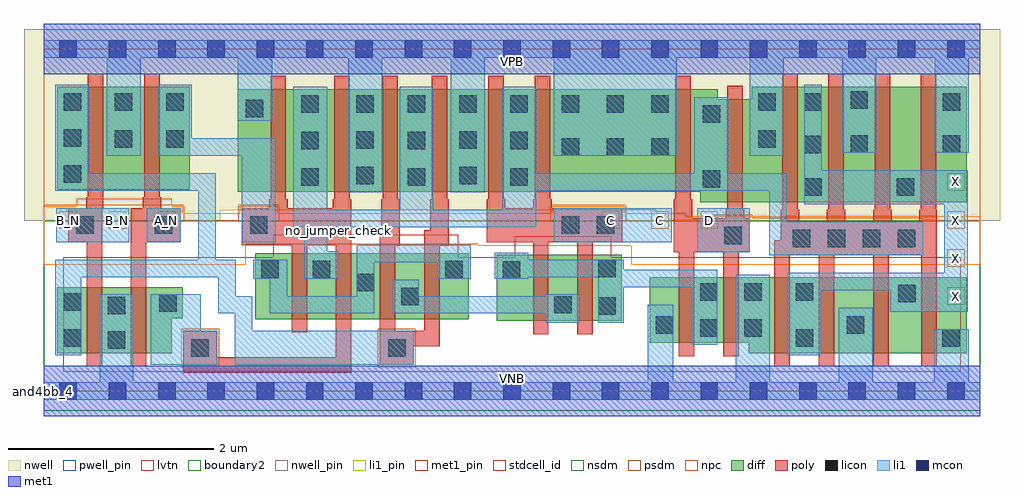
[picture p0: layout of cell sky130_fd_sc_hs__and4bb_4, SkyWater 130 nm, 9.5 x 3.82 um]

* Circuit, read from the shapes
.subckt sky130_fd_sc_hs__and4bb_4 A_N B_N C D VGND VNB VPB VPWR X
XM1 VGND B_N n1 VNB sky130_fd_pr__nfet_01v8_lvt w=0.64 l=0.15
XM2 n2 A_N VGND VNB sky130_fd_pr__nfet_01v8_lvt w=0.64 l=0.15
XM3 n3 n2 n4 VNB sky130_fd_pr__nfet_01v8_lvt w=0.64 l=0.15 m=2
XM4 n5 n1 n4 VNB sky130_fd_pr__nfet_01v8_lvt w=0.64 l=0.15 m=2
XM5 n5 C n6 VNB sky130_fd_pr__nfet_01v8_lvt w=0.64 l=0.15 m=2
XM6 n6 D VGND VNB sky130_fd_pr__nfet_01v8_lvt w=0.64 l=0.15 m=2
XM7 X n3 VGND VNB sky130_fd_pr__nfet_01v8_lvt w=0.74 l=0.15 m=4
XM8 VPWR B_N n1 VPB sky130_fd_pr__pfet_01v8 w=1 l=0.15
XM9 n2 A_N VPWR VPB sky130_fd_pr__pfet_01v8 w=1 l=0.15
XM10 n3 n2 VPWR VPB sky130_fd_pr__pfet_01v8 w=1 l=0.15 m=2
XM11 n3 n1 VPWR VPB sky130_fd_pr__pfet_01v8 w=1 l=0.15 m=2
XM12 n3 C VPWR VPB sky130_fd_pr__pfet_01v8 w=1 l=0.15 m=2
XM13 n3 D VPWR VPB sky130_fd_pr__pfet_01v8 w=1 l=0.15 m=2
XM14 X n3 VPWR VPB sky130_fd_pr__pfet_01v8 w=1.12 l=0.15 m=4
.ends

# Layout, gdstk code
import gdstk
lib = gdstk.Library(unit=1e-6, precision=1e-09)
def R(c, l, rs):  # rectangles x0, y0, x1, y1
    for r in rs: c.add(gdstk.rectangle(r[:2], r[2:], *l))
def A(c, l, x, y, w, h, nx, ny, dx, dy):  # array of equal rectangles
    R(c, l, [(x+i*dx, y+j*dy, x+i*dx+w, y+j*dy+h) for i in range(nx) for j in range(ny)])
def P(c, l, *ps):  # polygons
    for p in ps: c.add(gdstk.Polygon(p, *l))
nwell_pin = (64, 16)
nwell = (64, 20)
diff = (65, 20)
poly = (66, 20)
licon = (66, 44)
li1_pin = (67, 16)
li1 = (67, 20)
mcon = (67, 44)
met1_pin = (68, 16)
met1 = (68, 20)
stdcell_id = (81, 4)
nsdm = (93, 44)
psdm = (94, 20)
npc = (95, 20)
pwell_pin = (122, 16)
lvtn = (125, 44)
boundary2 = (236, 0)

sky130_fd_sc_hs__and4bb_ = lib.new_cell('sky130_fd_sc_hs__and4bb_4')
R(sky130_fd_sc_hs__and4bb_, nwell_pin, [(0,3.085,9.12,3.33)])
P(sky130_fd_sc_hs__and4bb_, nwell, [(9.31,3.52),(-0.19,3.52),(-0.19,1.66),(1.72,1.66),(1.72,1.76),(5.97,1.76),(5.97,1.66),(9.31,1.66)])
R(sky130_fd_sc_hs__and4bb_, diff, [(4.41,0.685,5.63,1.325), (2.06,0.7,4.14,1.34), (0.135,1.96,1.425,2.96)])
P(sky130_fd_sc_hs__and4bb_, diff, [(1.355,1.01),(0.135,1.01),(0.135,0.37),(1.25,0.37),(1.25,0.71),(1.355,0.71)],
  [(8.985,2.96),(6.895,2.96),(6.895,2.84),(6.565,2.84),(6.565,2.94),(1.89,2.94),(1.89,1.94),(6.39,1.94),(6.39,1.84),(8.985,1.84)],
  [(8.985,1.11),(5.9,1.11),(5.9,0.47),(6.865,0.47),(6.865,0.37),(8.985,0.37)])
P(sky130_fd_sc_hs__and4bb_, poly, [(8.695,1.765),(8.69,1.765),(8.69,3.09),(8.54,3.09),(8.54,1.765),(8.525,1.765),(8.525,1.65),(8.255,1.65),(8.255,1.765),(8.24,1.765),(8.24,3.09),(8.09,3.09),(8.09,1.765),(8.075,1.765),(8.075,1.65),(7.805,1.65),(7.805,1.765),(7.79,1.765),(7.79,3.09),(7.64,3.09),(7.64,1.765),(7.625,1.765),(7.625,1.65),(7.355,1.65),(7.355,1.765),(7.34,1.765),(7.34,3.09),(7.19,3.09),(7.19,1.765),(7.175,1.765),(7.175,1.47),(7.115,1.47),(7.115,0.24),(7.265,0.24),(7.265,1.32),(7.545,1.32),(7.545,0.24),(7.695,0.24),(7.695,1.32),(8.075,1.32),(8.075,0.24),(8.225,0.24),(8.225,1.32),(8.545,1.32),(8.545,0.24),(8.695,0.24)],
  [(6.875,1.68),(6.82,1.68),(6.82,1.765),(6.805,1.765),(6.805,2.97),(6.655,2.97),(6.655,1.765),(6.64,1.765),(6.64,1.68),(6.315,1.68),(6.315,1.865),(6.3,1.865),(6.3,3.07),(6.15,3.07),(6.15,1.865),(6.135,1.865),(6.135,1.35),(6.185,1.35),(6.185,0.34),(6.335,0.34),(6.335,1.35),(6.615,1.35),(6.615,0.34),(6.765,0.34),(6.765,1.35),(6.875,1.35)],
  [(5.635,1.78),(4.945,1.78),(4.945,1.865),(4.93,1.865),(4.93,3.07),(4.78,3.07),(4.78,1.865),(4.765,1.865),(4.765,1.78),(4.495,1.78),(4.495,1.865),(4.48,1.865),(4.48,3.07),(4.33,3.07),(4.33,1.865),(4.315,1.865),(4.315,1.45),(4.765,1.45),(4.765,0.555),(4.915,0.555),(4.915,1.45),(5.195,1.45),(5.195,0.555),(5.345,0.555),(5.345,1.45),(5.635,1.45)],
  [(3.945,1.865),(3.93,1.865),(3.93,3.07),(3.78,3.07),(3.78,1.865),(3.765,1.865),(3.765,1.565),(3.705,1.565),(3.705,0.585),(3.425,0.585),(3.425,1.415),(3.465,1.415),(3.465,1.865),(3.45,1.865),(3.45,3.07),(3.3,3.07),(3.3,1.865),(3.285,1.865),(3.285,1.565),(3.275,1.565),(3.275,0.255),(3.605,0.255),(3.605,0.435),(3.855,0.435),(3.855,1.415),(3.945,1.415)],
  [(2.995,1.865),(2.98,1.865),(2.98,3.07),(2.83,3.07),(2.83,1.865),(2.815,1.865),(2.815,1.78),(2.375,1.78),(2.375,1.865),(2.36,1.865),(2.36,3.07),(2.21,3.07),(2.21,1.865),(2.195,1.865),(2.195,1.78),(1.93,1.78),(1.93,1.42),(2.415,1.42),(2.415,0.57),(2.565,0.57),(2.565,1.42),(2.845,1.42),(2.845,0.33),(1.69,0.33),(1.69,0.585),(1.36,0.585),(1.36,0.18),(2.995,0.18)],
  [(1.335,1.78),(1.145,1.78),(1.145,1.885),(1.13,1.885),(1.13,3.09),(0.98,3.09),(0.98,1.885),(0.965,1.885),(0.965,1.78),(0.85,1.78),(0.85,0.24),(1,0.24),(1,1.45),(1.335,1.45)],
  [(0.58,3.09),(0.43,3.09),(0.43,1.885),(0.415,1.885),(0.415,1.78),(0.24,1.78),(0.24,1.45),(0.42,1.45),(0.42,0.24),(0.57,0.24),(0.57,1.78),(0.58,1.78)])
A(sky130_fd_sc_hs__and4bb_, licon, 7.295, 1.4, 0.17, 0.17, 4, 1, 0.34, 0)
A(sky130_fd_sc_hs__and4bb_, licon, 7.405, 1.9, 0.17, 0.17, 1, 3, 0, 0.415)
A(sky130_fd_sc_hs__and4bb_, licon, 2.51, 2, 0.17, 0.17, 1, 3, 0, 0.355)
A(sky130_fd_sc_hs__and4bb_, licon, 5.045, 2.29, 0.17, 0.17, 3, 1, 0.435, 0)
A(sky130_fd_sc_hs__and4bb_, licon, 3.045, 2.71, 0.17, 0.17, 5, 1, 0.5, 0)
A(sky130_fd_sc_hs__and4bb_, licon, 0.195, 2.73, 0.17, 0.17, 3, 1, 0.5, 0)
R(sky130_fd_sc_hs__and4bb_, licon, [(1.44,0.335,1.61,0.505), (3.355,0.335,3.525,0.505), (0.625,0.41,0.795,0.58), (0.195,0.43,0.365,0.6), (7.32,0.43,7.49,0.6), (8.75,0.43,8.92,0.6), (6.39,0.53,6.56,0.7), (6.82,0.53,6.99,0.7), (5.96,0.56,6.13,0.73), (7.82,0.56,7.99,0.73), (5.4,0.745,5.57,0.915), (0.625,0.75,0.795,0.92), (4.97,0.755,5.14,0.925), (1.125,0.77,1.295,0.94), (0.195,0.78,0.365,0.95), (3.48,0.835,3.65,1.005), (8.32,0.865,8.49,1.035), (6.39,0.88,6.56,1.05), (6.82,0.88,6.99,1.05), (7.32,0.88,7.49,1.05), (3.05,0.97,3.22,1.14), (4.47,1.095,4.64,1.265), (2.12,1.1,2.29,1.27), (2.62,1.1,2.79,1.27), (3.91,1.1,4.08,1.27), (5.4,1.11,5.57,1.28), (6.625,1.43,6.795,1.6), (0.32,1.53,0.49,1.7), (1.085,1.53,1.255,1.7), (2.01,1.53,2.18,1.7), (5.045,1.53,5.215,1.7), (5.385,1.53,5.555,1.7), (8.305,1.9,8.475,2.07), (6.415,1.98,6.585,2.15), (3.545,2,3.715,2.17), (4.545,2,4.715,2.17), (3.045,2.015,3.215,2.185), (4.045,2.015,4.215,2.185), (0.195,2.03,0.365,2.2), (7.855,2.32,8.025,2.49), (8.755,2.32,8.925,2.49), (3.545,2.355,3.715,2.525), (4.545,2.355,4.715,2.525), (3.045,2.36,3.215,2.53), (4.045,2.36,4.215,2.53), (0.695,2.37,0.865,2.54), (1.195,2.37,1.365,2.54), (6.955,2.37,7.125,2.54), (0.195,2.38,0.365,2.55), (6.415,2.61,6.585,2.78), (1.97,2.665,2.14,2.835), (5.48,2.71,5.65,2.88), (5.915,2.71,6.085,2.88), (6.955,2.73,7.125,2.9), (8.755,2.73,8.925,2.9), (7.855,2.75,8.025,2.92)])
A(sky130_fd_sc_hs__and4bb_, li1_pin, 8.795, 0.84, 0.17, 0.17, 1, 4, 0, 0.37)
A(sky130_fd_sc_hs__and4bb_, li1_pin, 0.155, 1.58, 0.17, 0.17, 3, 1, 0.48, 0)
A(sky130_fd_sc_hs__and4bb_, li1_pin, 5.435, 1.58, 0.17, 0.17, 3, 1, 0.48, 0)
R(sky130_fd_sc_hs__and4bb_, li1, [(6.365,1.35,6.875,1.78), (0.125,1.45,0.835,1.78), (1.005,1.45,1.335,1.78), (4.965,1.45,6.115,1.78)])
P(sky130_fd_sc_hs__and4bb_, li1, [(2.225,3.245),(2.225,2.63),(1.89,2.63),(1.89,3.245),(0.945,3.245),(0.945,2.29),(0.615,2.29),(0.615,3.245),(0,3.245),(0,3.415),(9.12,3.415),(9.12,3.245),(9.005,3.245),(9.005,2.32),(8.675,2.32),(8.675,3.245),(8.105,3.245),(8.105,2.32),(7.775,2.32),(7.775,3.245),(7.205,3.245),(7.205,2.29),(6.875,2.29),(6.875,3.245),(6.165,3.245),(6.165,2.29),(4.965,2.29),(4.965,3.245),(4.295,3.245),(4.295,1.935),(3.965,1.935),(3.965,3.245),(3.295,3.245),(3.295,1.935),(2.965,1.935),(2.965,3.245)],
  [(5.88,0.085),(5.88,0.84),(6.13,0.84),(6.13,0.085),(6.74,0.085),(6.74,1.13),(7.07,1.13),(7.07,0.085),(7.74,0.085),(7.74,0.81),(8.07,0.81),(8.07,0.085),(8.67,0.085),(8.67,0.6),(9.005,0.6),(9.005,0.085),(9.12,0.085),(9.12,-0.085),(0,-0.085),(0,0.085),(0.545,0.085),(0.545,0.94),(0.875,0.94),(0.875,0.085)],
  [(1.505,1.28),(1.505,1.95),(0.115,1.95),(0.115,2.98),(0.445,2.98),(0.445,2.12),(1.675,2.12),(1.675,1.28),(1.87,1.28),(1.87,0.925),(2.03,0.925),(2.03,0.585),(3.605,0.585),(3.605,0.255),(1.86,0.255),(1.86,0.755),(1.7,0.755),(1.7,1.11),(0.365,1.11),(0.365,0.35),(0.115,0.35),(0.115,1.28)],
  [(7.065,1.32),(7.065,1.95),(4.795,1.95),(4.795,1.595),(2.76,1.595),(2.76,1.36),(2.87,1.36),(2.87,1.095),(2.54,1.095),(2.54,1.595),(2.43,1.595),(2.43,2.96),(2.76,2.96),(2.76,1.765),(3.465,1.765),(3.465,2.96),(3.795,2.96),(3.795,1.765),(4.465,1.765),(4.465,2.96),(4.795,2.96),(4.795,2.12),(6.335,2.12),(6.335,2.86),(6.665,2.86),(6.665,2.12),(7.235,2.12),(7.235,1.65),(8.565,1.65),(8.565,1.32)],
  [(8.24,0.77),(8.24,0.98),(7.57,0.98),(7.57,0.35),(7.24,0.35),(7.24,1.15),(8.765,1.15),(8.765,1.82),(7.405,1.82),(7.405,2.98),(7.575,2.98),(7.575,2.15),(8.995,2.15),(8.995,0.77)],
  [(1.93,1.45),(1.93,2.29),(1.115,2.29),(1.115,2.98),(1.445,2.98),(1.445,2.46),(2.26,2.46),(2.26,1.45)],
  [(5.4,0.665),(5.4,1.11),(4.72,1.11),(4.72,1.095),(4.39,1.095),(4.39,1.345),(4.72,1.345),(4.72,1.28),(5.65,1.28),(5.65,1.18),(6.56,1.18),(6.56,0.45),(6.31,0.45),(6.31,1.01),(5.65,1.01),(5.65,0.665)],
  [(4.89,0.665),(4.89,0.755),(3.4,0.755),(3.4,1.085),(3.65,1.085),(3.65,0.925),(4.89,0.925),(4.89,0.94),(5.22,0.94),(5.22,0.665)],
  [(3.83,1.095),(3.83,1.255),(3.22,1.255),(3.22,0.755),(2.2,0.755),(2.2,1.095),(2.04,1.095),(2.04,1.28),(2.37,1.28),(2.37,0.925),(3.05,0.925),(3.05,1.425),(4.16,1.425),(4.16,1.095)],
  [(1.045,0.255),(1.045,0.94),(1.53,0.94),(1.53,0.585),(1.69,0.585),(1.69,0.255)])
A(sky130_fd_sc_hs__and4bb_, mcon, 0.155, -0.085, 0.17, 0.17, 19, 2, 0.48, 3.33)
R(sky130_fd_sc_hs__and4bb_, met1_pin, [(0,0,9.12,0.245), (0,3.085,9.12,3.33)])
R(sky130_fd_sc_hs__and4bb_, met1, [(0,-0.245,9.12,0.245), (0,3.085,9.12,3.575)])
R(sky130_fd_sc_hs__and4bb_, stdcell_id, [(0,0,9.12,3.33)])
R(sky130_fd_sc_hs__and4bb_, nsdm, [(0,-0.19,9.12,1.66)])
P(sky130_fd_sc_hs__and4bb_, psdm, [(9.12,3.52),(0,3.52),(0,1.81),(1.365,1.81),(1.365,1.66),(1.9,1.66),(1.9,1.81),(2.29,1.81),(2.29,1.66),(4.935,1.66),(4.935,1.81),(5.665,1.81),(5.665,1.66),(6.515,1.66),(6.515,1.71),(6.905,1.71),(6.905,1.68),(8.555,1.68),(8.555,1.66),(9.12,1.66)])
R(sky130_fd_sc_hs__and4bb_, npc, [(1.34,0.225,1.71,0.605), (3.255,0.225,3.625,0.605)])
P(sky130_fd_sc_hs__and4bb_, npc, [(9.12,1.7),(6.25,1.7),(6.25,1.73),(5.655,1.73),(5.655,1.8),(4.945,1.8),(4.945,1.73),(2.28,1.73),(2.28,1.8),(1.91,1.8),(1.91,1.73),(1.355,1.73),(1.355,1.8),(1.25,1.8),(1.25,1.87),(0.325,1.87),(0.325,1.8),(0,1.8),(0,1.23),(1.97,1.23),(1.97,1.43),(4.23,1.43),(4.23,1.415),(5.72,1.415),(5.72,1.23),(9.12,1.23)])
R(sky130_fd_sc_hs__and4bb_, pwell_pin, [(0,0,9.12,0.245)])
P(sky130_fd_sc_hs__and4bb_, lvtn, [(8.93,1.3),(5.525,1.3),(5.525,1.505),(4.585,1.505),(4.585,1.3),(4.035,1.3),(4.035,1.52),(2.235,1.52),(2.235,1.3),(0.19,1.3),(0.19,0.19),(8.93,0.19)])
R(sky130_fd_sc_hs__and4bb_, boundary2, [(0,0,9.12,3.33)])
sky130_fd_sc_hs__and4bb_.add(gdstk.Label('and4bb_4', (0,0), layer=83, texttype=44))
sky130_fd_sc_hs__and4bb_.add(gdstk.Label('no_jumper_check', (2.875,1.565), layer=83, texttype=44))
sky130_fd_sc_hs__and4bb_.add(gdstk.Label('VNB', (4.56,0.123), layer=64, texttype=59))
sky130_fd_sc_hs__and4bb_.add(gdstk.Label('VPB', (4.56,3.208), layer=64, texttype=5))
sky130_fd_sc_hs__and4bb_.add(gdstk.Label('VPWR', (4.56,3.208), layer=68, texttype=5))
sky130_fd_sc_hs__and4bb_.add(gdstk.Label('VGND', (4.56,0.123), layer=68, texttype=5))
sky130_fd_sc_hs__and4bb_.add(gdstk.Label('B_N', (0.24,1.665), layer=67, texttype=5))
sky130_fd_sc_hs__and4bb_.add(gdstk.Label('B_N', (0.72,1.665), layer=67, texttype=5))
sky130_fd_sc_hs__and4bb_.add(gdstk.Label('A_N', (1.2,1.665), layer=67, texttype=5))
sky130_fd_sc_hs__and4bb_.add(gdstk.Label('D', (6.48,1.665), layer=67, texttype=5))
sky130_fd_sc_hs__and4bb_.add(gdstk.Label('C', (5.52,1.665), layer=67, texttype=5))
sky130_fd_sc_hs__and4bb_.add(gdstk.Label('C', (6,1.665), layer=67, texttype=5))
sky130_fd_sc_hs__and4bb_.add(gdstk.Label('X', (8.88,0.925), layer=67, texttype=5))
sky130_fd_sc_hs__and4bb_.add(gdstk.Label('X', (8.88,1.295), layer=67, texttype=5))
sky130_fd_sc_hs__and4bb_.add(gdstk.Label('X', (8.88,1.665), layer=67, texttype=5))
sky130_fd_sc_hs__and4bb_.add(gdstk.Label('X', (8.88,2.035), layer=67, texttype=5))

lib.write_gds('sky130_fd_sc_hs__and4bb_4.gds')
